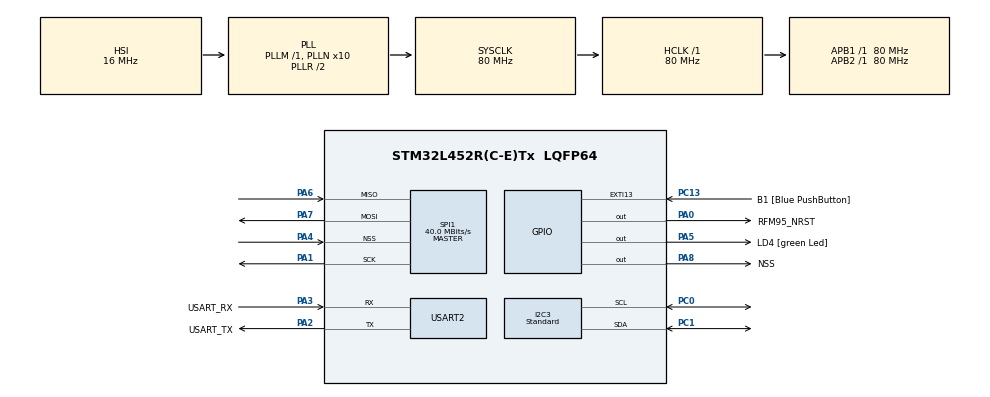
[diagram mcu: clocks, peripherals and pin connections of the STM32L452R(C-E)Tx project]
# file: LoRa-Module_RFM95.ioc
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I2C3.I2C_Speed_Mode=I2C_Standard
I2C3.Timing=0x10909CEC
Mcu.Family=STM32L4
Mcu.Name=STM32L452R(C-E)Tx
Mcu.Package=LQFP64
NVIC.PriorityGroup=NVIC_PRIORITYGROUP_4
PA0.GPIO_Label=RFM95_NRST
PA0.Signal=GPIO_Output
PA1.Mode=Full_Duplex_Master
PA1.Signal=SPI1_SCK
PA13\ (JTMS/SWDIO).GPIO_Label=TMS
PA13\ (JTMS/SWDIO).Mode=Serial_Wire
PA13\ (JTMS/SWDIO).Signal=SYS_JTMS-SWDIO
PA14\ (JTCK/SWCLK).GPIO_Label=TCK
PA14\ (JTCK/SWCLK).Mode=Serial_Wire
PA14\ (JTCK/SWCLK).Signal=SYS_JTCK-SWCLK
PA2.GPIO_Label=USART_TX
PA2.GPIO_Mode=GPIO_MODE_AF_PP
PA2.GPIO_PuPd=GPIO_NOPULL
PA2.GPIO_Speed=GPIO_SPEED_FREQ_VERY_HIGH
PA2.Mode=Asynchronous
PA2.Signal=USART2_TX
PA3.GPIO_Label=USART_RX
PA3.GPIO_Mode=GPIO_MODE_AF_PP
PA3.GPIO_PuPd=GPIO_NOPULL
PA3.GPIO_Speed=GPIO_SPEED_FREQ_VERY_HIGH
PA3.Mode=Asynchronous
PA3.Signal=USART2_RX
PA4.Mode=NSS_Signal_Hard_Input
PA4.Signal=SPI1_NSS
PA5.GPIO_Label=LD4 [green Led]
PA5.GPIO_ModeDefaultOutputPP=GPIO_MODE_OUTPUT_PP
PA5.GPIO_PuPd=GPIO_NOPULL
PA5.GPIO_Speed=GPIO_SPEED_FREQ_LOW
PA5.Signal=GPIO_Output
PA6.Mode=Full_Duplex_Master
PA6.Signal=SPI1_MISO
PA7.Mode=Full_Duplex_Master
PA7.Signal=SPI1_MOSI
PA8.GPIO_Label=NSS
PA8.Signal=GPIO_Output
PB3\ (JTDO/TRACESWO).GPIO_Label=SWO
PB3\ (JTDO/TRACESWO).Signal=SYS_JTDO-SWO
PC0.Mode=I2C
PC0.Signal=I2C3_SCL
PC1.Mode=I2C
PC1.Signal=I2C3_SDA
PC13.GPIO_Label=B1 [Blue PushButton]
PC13.GPIO_ModeDefaultEXTI=GPIO_MODE_IT_FALLING
PC13.GPIO_PuPd=GPIO_NOPULL
PC13.Signal=GPXTI13
PC14-OSC32_IN\ (PC14).Mode=LSE-External-Oscillator
PC14-OSC32_IN\ (PC14).Signal=RCC_OSC32_IN
PC15-OSC32_OUT\ (PC15).Mode=LSE-External-Oscillator
PC15-OSC32_OUT\ (PC15).Signal=RCC_OSC32_OUT
PH0-OSC_IN\ (PH0).Signal=RCC_OSC_IN
PH1-OSC_OUT\ (PH1).Signal=RCC_OSC_OUT
ProjectManager.HeapSize=0x200
ProjectManager.StackSize=0x400
ProjectManager.TargetToolchain=STM32CubeIDE
RCC.ADCFreq_Value=64000000
RCC.AHBFreq_Value=80000000
RCC.APB1Freq_Value=80000000
RCC.APB1TimFreq_Value=80000000
RCC.APB2Freq_Value=80000000
RCC.APB2TimFreq_Value=80000000
RCC.CortexFreq_Value=80000000
RCC.HCLKFreq_Value=80000000
RCC.HSE_VALUE=8000000
RCC.HSI48_VALUE=48000000
RCC.HSI_VALUE=16000000
RCC.MSI_VALUE=4000000
RCC.PLLN=10
RCC.PLLSourceVirtual=RCC_PLLSOURCE_HSI
RCC.PREFETCH_ENABLE=1
RCC.SYSCLKFreq_VALUE=80000000
RCC.SYSCLKSource=RCC_SYSCLKSOURCE_PLLCLK
RCC.USBFreq_Value=64000000
RCC.VCOOutputFreq_Value=160000000
SPI1.CalculateBaudRate=40.0 MBits/s
SPI1.DataSize=SPI_DATASIZE_8BIT
SPI1.Direction=SPI_DIRECTION_2LINES
SPI1.Mode=SPI_MODE_MASTER
SPI1.TIMode=SPI_TIMODE_DISABLE
SPI1.VirtualNSS=VM_NSSHARD
SPI1.VirtualType=VM_MASTER
USART2.VirtualMode-Asynchronous=VM_ASYNC
VP_LPTIM1_VS_LPTIM_counterModeInternalClock.Mode=Counts__internal_clock_event_00
board=NUCLEO-L452RE

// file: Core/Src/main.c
/* USER CODE BEGIN Header */
/**
 ******************************************************************************
 * @file           : main.c
 * @brief          : Main program body
 ******************************************************************************
 * @attention
 *
 * Copyright (c) 2022 STMicroelectronics.
 * All rights reserved.
 *
 * This software is licensed under terms that can be found in the LICENSE file
 * in the root directory of this software component.
 * If no LICENSE file comes with this software, it is provided AS-IS.
 *
 ******************************************************************************
 */
/* USER CODE END Header */
#include "main.h"

/* USER CODE BEGIN Includes */
#include "../../Core/Inc/stm32-hal-rfm95-master/rfm95.h"
/* USER CODE END Includes */

 I2C_HandleTypeDef hi2c3;

LPTIM_HandleTypeDef hlptim1;

SPI_HandleTypeDef hspi1;

UART_HandleTypeDef huart2;

void SystemClock_Config(void);
static void MX_GPIO_Init(void);
static void MX_USART2_UART_Init(void);
static void MX_I2C3_Init(void);
static void MX_SPI1_Init(void);
static void MX_LPTIM1_Init(void);
/* USER CODE BEGIN PFP */
#define PUTCHAR_PROTOTYPE int __io_putchar(int ch)

/* USER CODE END PFP */

int main(void)
{
  /* USER CODE BEGIN 1 */
	uint8_t buf[12]; // For UART
  /* USER CODE END 1 */

  /* MCU Configuration--------------------------------------------------------*/

  /* Reset of all peripherals, Initializes the Flash interface and the Systick. */
  HAL_Init();

  /* Configure the system clock */
  SystemClock_Config();

  /* Initialize all configured peripherals */
  MX_GPIO_Init();
  MX_USART2_UART_Init();
  MX_I2C3_Init();
  MX_SPI1_Init();
  MX_LPTIM1_Init();
  /* USER CODE BEGIN 2 */
	rfm95_handle_t rfm95_handle =
			{ .spi_handle = &hspi1, .nss_port = GPIOB, .nss_pin = GPIO_PIN_6,
					.nrst_port = RFM95_NRST_GPIO_Port, .nrst_pin =
							RFM95_NRST_Pin, .device_address = { 0x82, 0x0D, 0x0B, 0x26 },
							.application_session_key = { 0x28, 0xA8, 0x53, 0x35, 0xD6, 0x72, 0xA9, 0x7B, 0xC5, 0x94, 0xC8, 0x59, 0x51, 0x43, 0x84, 0xC9 },
					.network_session_key = { 0x24, 0xDA, 0x81, 0x15, 0xAE, 0x41, 0x7D, 0x54, 0xD7, 0x90, 0x85, 0x1F, 0x9A, 0xD7, 0x8B, 0xBA },
							.precision_tick_frequency = 32768,
							    .precision_tick_drift_ns_per_s = 5000,
							    .receive_mode = RFM95_RECEIVE_MODE_RX12,
							    .get_precision_tick = get_precision_tick,
							    .precision_sleep_until = precision_sleep_until,
							    .random_int = random_int,
							    .get_battery_level = get_battery_level};

	// Initialise RFM95 module.
	if (!rfm95_init(&rfm95_handle)) {
		printf("RFM95 init failed\n\r");
	}else {
		printf("RFM95 init sucess\n\r");
	}

	uint8_t data_packet[] = { 0x01, 0x02, 0x03, 0x4 };

	if (!rfm95_send_receive_cycle(&rfm95_handle, data_packet,
			sizeof(data_packet))) {
		printf("RFM95 send failed\n\r");
	} else {
		printf("RFM95 send success\n\r");
	}

  /* USER CODE END 2 */

  /* Infinite loop */
  /* USER CODE BEGIN WHILE */
while (1) {

	//strcpy((char*) buf, "Startup\r\n");
//	HAL_UART_Transmit(&huart2, buf, strlen((char*) buf), HAL_MAX_DELAY);
    /* USER CODE END WHILE */

}
}

void SystemClock_Config(void)
{
  RCC_OscInitTypeDef RCC_OscInitStruct = {0};
  RCC_ClkInitTypeDef RCC_ClkInitStruct = {0};

  /** Configure the main internal regulator output voltage
  */
  if (HAL_PWREx_ControlVoltageScaling(PWR_REGULATOR_VOLTAGE_SCALE1) != HAL_OK)
  {
    Error_Handler();
  }

  /** Initializes the RCC Oscillators according to the specified parameters
  * in the RCC_OscInitTypeDef structure.
  */
  RCC_OscInitStruct.OscillatorType = RCC_OSCILLATORTYPE_HSI;
  RCC_OscInitStruct.HSIState = RCC_HSI_ON;
  RCC_OscInitStruct.HSICalibrationValue = RCC_HSICALIBRATION_DEFAULT;
  RCC_OscInitStruct.PLL.PLLState = RCC_PLL_ON;
  RCC_OscInitStruct.PLL.PLLSource = RCC_PLLSOURCE_HSI;
  RCC_OscInitStruct.PLL.PLLM = 1;
  RCC_OscInitStruct.PLL.PLLN = 10;
  RCC_OscInitStruct.PLL.PLLP = RCC_PLLP_DIV7;
  RCC_OscInitStruct.PLL.PLLQ = RCC_PLLQ_DIV2;
  RCC_OscInitStruct.PLL.PLLR = RCC_PLLR_DIV2;
  if (HAL_RCC_OscConfig(&RCC_OscInitStruct) != HAL_OK)
  {
    Error_Handler();
  }

  /** Initializes the CPU, AHB and APB buses clocks
  */
  RCC_ClkInitStruct.ClockType = RCC_CLOCKTYPE_HCLK|RCC_CLOCKTYPE_SYSCLK
                              |RCC_CLOCKTYPE_PCLK1|RCC_CLOCKTYPE_PCLK2;
  RCC_ClkInitStruct.SYSCLKSource = RCC_SYSCLKSOURCE_PLLCLK;
  RCC_ClkInitStruct.AHBCLKDivider = RCC_SYSCLK_DIV1;
  RCC_ClkInitStruct.APB1CLKDivider = RCC_HCLK_DIV1;
  RCC_ClkInitStruct.APB2CLKDivider = RCC_HCLK_DIV1;

  if (HAL_RCC_ClockConfig(&RCC_ClkInitStruct, FLASH_LATENCY_4) != HAL_OK)
  {
    Error_Handler();
  }
}

static void MX_I2C3_Init(void)
{

  hi2c3.Instance = I2C3;
  hi2c3.Init.Timing = 0x10909CEC;
  hi2c3.Init.OwnAddress1 = 0;
  hi2c3.Init.AddressingMode = I2C_ADDRESSINGMODE_7BIT;
  hi2c3.Init.DualAddressMode = I2C_DUALADDRESS_DISABLE;
  hi2c3.Init.OwnAddress2 = 0;
  hi2c3.Init.OwnAddress2Masks = I2C_OA2_NOMASK;
  hi2c3.Init.GeneralCallMode = I2C_GENERALCALL_DISABLE;
  hi2c3.Init.NoStretchMode = I2C_NOSTRETCH_DISABLE;
  if (HAL_I2C_Init(&hi2c3) != HAL_OK)
  {
    Error_Handler();
  }

  /** Configure Analogue filter
  */
  if (HAL_I2CEx_ConfigAnalogFilter(&hi2c3, I2C_ANALOGFILTER_ENABLE) != HAL_OK)
  {
    Error_Handler();
  }

  /** Configure Digital filter
  */
  if (HAL_I2CEx_ConfigDigitalFilter(&hi2c3, 0) != HAL_OK)
  {
    Error_Handler();
  }

}

static void MX_LPTIM1_Init(void)
{

  hlptim1.Instance = LPTIM1;
  hlptim1.Init.Clock.Source = LPTIM_CLOCKSOURCE_APBCLOCK_LPOSC;
  hlptim1.Init.Clock.Prescaler = LPTIM_PRESCALER_DIV1;
  hlptim1.Init.Trigger.Source = LPTIM_TRIGSOURCE_SOFTWARE;
  hlptim1.Init.OutputPolarity = LPTIM_OUTPUTPOLARITY_HIGH;
  hlptim1.Init.UpdateMode = LPTIM_UPDATE_IMMEDIATE;
  hlptim1.Init.CounterSource = LPTIM_COUNTERSOURCE_INTERNAL;
  hlptim1.Init.Input1Source = LPTIM_INPUT1SOURCE_GPIO;
  hlptim1.Init.Input2Source = LPTIM_INPUT2SOURCE_GPIO;
  if (HAL_LPTIM_Init(&hlptim1) != HAL_OK)
  {
    Error_Handler();
  }

}

static void MX_SPI1_Init(void)
{

  /* SPI1 parameter configuration*/
  hspi1.Instance = SPI1;
  hspi1.Init.Mode = SPI_MODE_MASTER;
  hspi1.Init.Direction = SPI_DIRECTION_2LINES;
  hspi1.Init.DataSize = SPI_DATASIZE_8BIT;
  hspi1.Init.CLKPolarity = SPI_POLARITY_LOW;
  hspi1.Init.CLKPhase = SPI_PHASE_1EDGE;
  hspi1.Init.NSS = SPI_NSS_HARD_INPUT;
  hspi1.Init.BaudRatePrescaler = SPI_BAUDRATEPRESCALER_2;
  hspi1.Init.FirstBit = SPI_FIRSTBIT_MSB;
  hspi1.Init.TIMode = SPI_TIMODE_DISABLE;
  hspi1.Init.CRCCalculation = SPI_CRCCALCULATION_DISABLE;
  hspi1.Init.CRCPolynomial = 7;
  hspi1.Init.CRCLength = SPI_CRC_LENGTH_DATASIZE;
  hspi1.Init.NSSPMode = SPI_NSS_PULSE_ENABLE;
  if (HAL_SPI_Init(&hspi1) != HAL_OK)
  {
    Error_Handler();
  }

}

static void MX_USART2_UART_Init(void)
{

  huart2.Instance = USART2;
  huart2.Init.BaudRate = 115200;
  huart2.Init.WordLength = UART_WORDLENGTH_8B;
  huart2.Init.StopBits = UART_STOPBITS_1;
  huart2.Init.Parity = UART_PARITY_NONE;
  huart2.Init.Mode = UART_MODE_TX_RX;
  huart2.Init.HwFlowCtl = UART_HWCONTROL_NONE;
  huart2.Init.OverSampling = UART_OVERSAMPLING_16;
  huart2.Init.OneBitSampling = UART_ONE_BIT_SAMPLE_DISABLE;
  huart2.AdvancedInit.AdvFeatureInit = UART_ADVFEATURE_NO_INIT;
  if (HAL_UART_Init(&huart2) != HAL_OK)
  {
    Error_Handler();
  }

}

static void MX_GPIO_Init(void)
{
  GPIO_InitTypeDef GPIO_InitStruct = {0};

  /* GPIO Ports Clock Enable */
  __HAL_RCC_GPIOC_CLK_ENABLE();
  __HAL_RCC_GPIOH_CLK_ENABLE();
  __HAL_RCC_GPIOA_CLK_ENABLE();
  __HAL_RCC_GPIOB_CLK_ENABLE();

  /*Configure GPIO pin Output Level */
  HAL_GPIO_WritePin(GPIOA, RFM95_NRST_Pin|LD4_Pin|NSS_Pin, GPIO_PIN_RESET);

  /*Configure GPIO pin : B1_Pin */
  GPIO_InitStruct.Pin = B1_Pin;
  GPIO_InitStruct.Mode = GPIO_MODE_IT_FALLING;
  GPIO_InitStruct.Pull = GPIO_NOPULL;
  HAL_GPIO_Init(B1_GPIO_Port, &GPIO_InitStruct);

  /*Configure GPIO pins : RFM95_NRST_Pin LD4_Pin NSS_Pin */
  GPIO_InitStruct.Pin = RFM95_NRST_Pin|LD4_Pin|NSS_Pin;
  GPIO_InitStruct.Mode = GPIO_MODE_OUTPUT_PP;
  GPIO_InitStruct.Pull = GPIO_NOPULL;
  GPIO_InitStruct.Speed = GPIO_SPEED_FREQ_LOW;
  HAL_GPIO_Init(GPIOA, &GPIO_InitStruct);

}

/* USER CODE BEGIN 4 */
/**
 * @brief  Retargets the C library printf function to the USART.
 * @param  None
 * @retval None
 */
PUTCHAR_PROTOTYPE {
	/* Place your implementation of fputc here */
	/* e.g. write a character to the USART1 and Loop until the end of transmission */
	HAL_UART_Transmit(&huart2, (uint8_t*) &ch, 1, 0xFFFF);

	return ch;
}

volatile uint32_t lptim_tick_msb = 0;

static uint32_t get_precision_tick()
{
    __disable_irq();
    uint32_t precision_tick = lptim_tick_msb | HAL_LPTIM_ReadCounter(&hlptim1);
    __enable_irq();
    return precision_tick;
}

void HAL_LPTIM_AutoReloadMatchCallback(LPTIM_HandleTypeDef *hlptim)
{
    lptim_tick_msb += 0x10000;
}

static void precision_sleep_until(uint32_t target_ticks)
{
    while (true) {

    uint32_t start_ticks = get_precision_tick();
    if (start_ticks > target_ticks) {
        break;
    }

    uint32_t ticks_to_sleep = target_ticks - start_ticks;

    // Only use sleep for at least 10 ticks.
    if (ticks_to_sleep >= 10) {

        // Calculate required value of compare register for the sleep minus a small buffer time to compensate
        // for any ticks that occur while we perform this calculation.
        uint32_t compare = (start_ticks & 0xffff) + ticks_to_sleep - 2;

        // If the counter auto-reloads we will be woken up anyway.
        if (compare > 0xffff) {
            HAL_SuspendTick();
            HAL_PWREx_EnterSTOP2Mode(PWR_STOPENTRY_WFI);
            HAL_ResumeTick();

        // Otherwise, set compare register and use the compare match interrupt to wake up in time.
        } else {
            __HAL_LPTIM_COMPARE_SET(&hlptim1, compare);
            while (!__HAL_LPTIM_GET_FLAG(&hlptim1, LPTIM_FLAG_CMPOK));
            __HAL_LPTIM_CLEAR_FLAG(&hlptim1, LPTIM_FLAG_CMPM);
            __HAL_LPTIM_ENABLE_IT(&hlptim1, LPTIM_IT_CMPM);
            HAL_SuspendTick();
            HAL_PWREx_EnterSTOP2Mode(PWR_STOPENTRY_WFI);
            HAL_ResumeTick();
            __HAL_LPTIM_DISABLE_IT(&hlptim1, LPTIM_IT_CMPM);
        }
    } else {
        break;
    }

    // Busy wait until we have reached the target.
    while (get_precision_tick() < target_ticks);
}
}

static uint8_t random_int(uint8_t max)
{
    return 0; // Use ADC other means of obtaining a random number.
}

static uint8_t get_battery_level()
{
    return 0xff; // 0xff = Unknown battery level.
}

/* USER CODE END 4 */

void Error_Handler(void)
{
__disable_irq();
while (1) {
}
}
